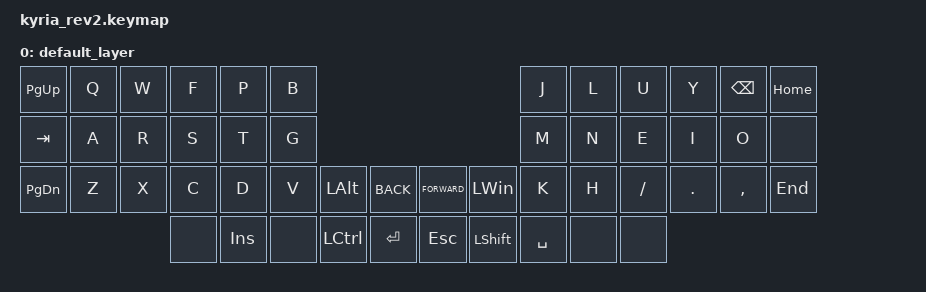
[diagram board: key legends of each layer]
/*
 * Copyright (c) 2020 The ZMK Contributors
 *
 * SPDX-License-Identifier: MIT
 */

#include <behaviors.dtsi>
#include <dt-bindings/zmk/keys.h>

/ {
    behaviors {
        holdTap_behaviour: holdTap_behaviour {
            compatible = "zmk,behavior-hold-tap";
            label = "HOLDTAP_BEHAVIOUR";
            bindings = <&kp>, <&kp>;

            #binding-cells = <2>;
            tapping-term-ms = <200>;
            quick-tap-ms = <0>;
            flavor = "balanced";
        };

        layerTap_behavior: layerTap_behavior {
            compatible = "zmk,behavior-hold-tap";
            label = "LAYERTAP_BEHAVIOR";
            bindings = <&mo>, <&kp>;

            #binding-cells = <2>;
            tapping-term-ms = <200>;
            quick-tap-ms = <0>;
            flavor = "balanced";
        };
    };

    keymap {
        compatible = "zmk,keymap";

        default_layer {
            // ---------------------------------------------------------------------------------------------------------------------------------
            // |  ESC  |  Q  |  W  |  E   |  R   |  T   |                                          |  Y   |  U    |  I    |  O   |   P   |   \  |
            // |  TAB  |  A  |  S  |  D   |  F   |  G   |                                          |  H   |  J    |  K    |  L   |   ;   |   '  |
            // | SHIFT |  Z  |  X  |  C   |  V   |  B   | L SHIFT | L SHIFT |  | LAYER 1 | L SHIFT |  N   |  M    |  ,    |  .   |   /   | CTRL |
            //                     | GUI  | DEL  | RET  |  SPACE  |   ESC   |  |   RET   |  SPACE  | TAB  | BSPC  | R-ALT |

            bindings = <
&kp PAGE_UP    &kp Q  &kp W  &kp F  &kp P    &kp B                                                           &kp J      &kp L  &kp U      &kp Y       &kp BACKSPACE  &kp HOME
&kp TAB        &kp A  &kp R  &kp S  &kp T    &kp G                                                           &kp M      &kp N  &kp E      &kp I       &kp O          &none
&kp PAGE_DOWN  &kp Z  &kp X  &kp C  &kp D    &kp V  &kp LEFT_ALT  &kp K_BACK  &kp K_FORWARD  &kp LEFT_WIN    &kp K      &kp H  &kp SLASH  &kp PERIOD  &kp COMMA      &kp END
                             &none  &kp INS  &none  &kp LCTRL     &kp ENTER   &kp ESC        &kp LEFT_SHIFT  &kp SPACE  &none  &none
            >;
        };
    };
};
